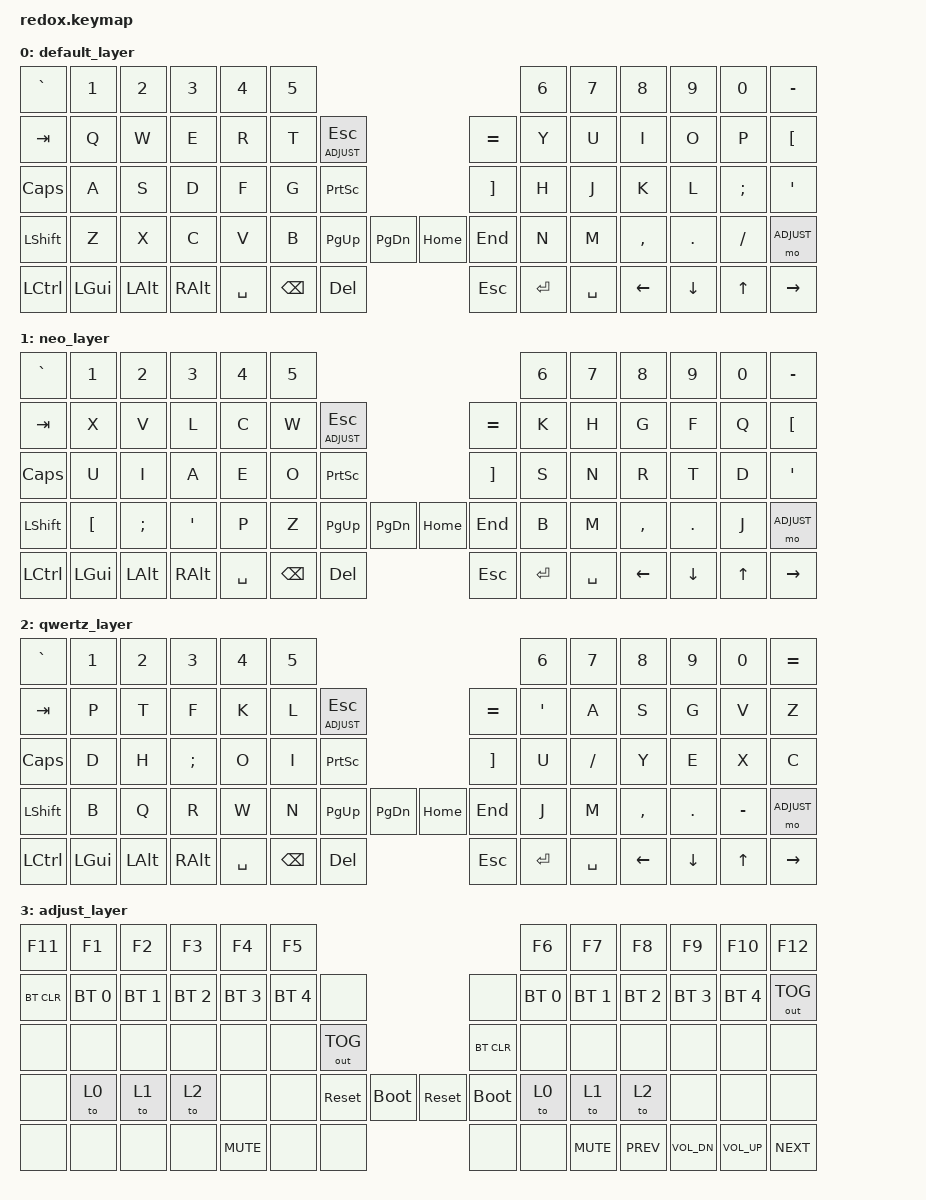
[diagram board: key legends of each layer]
/*
 * Copyright (c) 2021 The ZMK Contributors
 *
 * SPDX-License-Identifier: MIT
 */

#include <behaviors.dtsi>
#include <dt-bindings/zmk/keys.h>
#include <dt-bindings/zmk/bt.h>
#include <dt-bindings/zmk/ext_power.h>
#include <dt-bindings/zmk/outputs.h>

#define ADJUST 3

/ {
    keymap {
        compatible =  "zmk,keymap" ;

// keymap profile 0: os:neo2 actual:neo2
// -------------------------------------------------------------------------------------------------------------------------------------
// | GRAVE |  1  |  2  |   3   |  4  |  5  |                        ---                |  6    |  7    |  8    |  9   | 0  |     -     |
// | TAB   |  Q  |  W  |   E   |  R  |  T  | ESC/ADJUST |           ---        | EQUAL |  Y    |  U    |  I    |  O   | P  |     [     |
// | CAPS  |  A  |  S  |   D   |  F  |  G  | PSCRN      |           ---        |  ]    |  H    |  J    |  K    |  L   | ;  |     '     |
// | SHIFT |  Z  |  X  |   C   |  V  |  B  | PG_UP      | PG_DOWN | --- | HOME | END   |  N    |  M    |  ,    |  .   | /  |   ADJUST  |
// | CRTL  | GUI | ALT | RALT  |    SPACE  | BKSP       | DEL     | --- | ESC  | RET   |     SPACE     | LEFT  | DOWN | UP |   RIGHT   |
// -------------------------------------------------------------------------------------------------------------------------------------
        default_layer {
            bindings = <
   &kp GRAVE &kp N1   &kp N2   &kp N3 &kp N4   &kp N5                                        &kp N6    &kp N7 &kp N8    &kp N9   &kp N0   &kp MINUS
   &kp TAB   &kp Q    &kp W    &kp E  &kp R    &kp T  &lt ADJUST ESC               &kp EQUAL &kp Y     &kp U  &kp I     &kp O    &kp P    &kp LBKT
   &kp CLCK  &kp A    &kp S    &kp D  &kp F    &kp G  &kp PSCRN                    &kp RBKT  &kp H     &kp J  &kp K     &kp L    &kp SEMI &kp SQT
   &kp LSHFT &kp Z    &kp X    &kp C  &kp V    &kp B  &kp PG_UP &kp PG_DN &kp HOME &kp END   &kp N     &kp M  &kp COMMA &kp DOT  &kp FSLH &mo ADJUST
   &kp LCTRL &kp LGUI &kp LALT &kp RALT   &kp SPACE   &kp BSPC  &kp DEL   &kp ESC  &kp RET         &kp SPACE  &kp LEFT  &kp DOWN &kp UP   &kp RIGHT
            >;
        };

// keymap profile 1: os:qwertz, actual:neo2
// -------------------------------------------------------------------------------------------------------------------------------------
// | GRAVE |  1  |  2  |   3   |  4  |  5  |                        ---                |  6    |  7    |  8    |  9   | 0  |     -     |
// | TAB   |  X  |  V  |   L   |  C  |  W  | ESC/ADJUST |           ---        | EQUAL |  K    |  H    |  G    |  F   | Q  |     [     |
// | CAPS  |  U  |  I  |   A   |  E  |  O  | PSCRN      |           ---        |  ]    |  S    |  N    |  R    |  T   | D  |     '     |
// | SHIFT |  [  |  ;  |   '   |  P  |  Z  | PG_UP      | PG_DOWN | --- | HOME | END   |  B    |  M    |  ,    |  .   | J  |   ADJUST  |
// | CRTL  | GUI | ALT | RALT  |    SPACE  | BKSP       | DEL     | --- | ESC  | RET   |     SPACE     | LEFT  | DOWN | UP |   RIGHT   |
// -------------------------------------------------------------------------------------------------------------------------------------
        neo_layer {
            bindings = <
   &kp GRAVE &kp N1   &kp N2   &kp N3   &kp N4   &kp N5                                        &kp N6    &kp N7 &kp N8    &kp N9   &kp N0   &kp MINUS
   &kp TAB   &kp X    &kp V    &kp L    &kp C    &kp W  &lt ADJUST ESC               &kp EQUAL &kp K     &kp H  &kp G     &kp F    &kp Q    &kp LBKT
   &kp CLCK  &kp U    &kp I    &kp A    &kp E    &kp O  &kp PSCRN                    &kp RBKT  &kp S     &kp N  &kp R     &kp T    &kp D    &kp SQT
   &kp LSHFT &kp LBKT &kp SEMI &kp SQT  &kp P    &kp Z  &kp PG_UP &kp PG_DN &kp HOME &kp END   &kp B     &kp M  &kp COMMA &kp DOT  &kp J    &mo ADJUST
   &kp LCTRL &kp LGUI &kp LALT &kp RALT     &kp SPACE   &kp BSPC  &kp DEL   &kp ESC  &kp RET         &kp SPACE  &kp LEFT  &kp DOWN &kp UP   &kp RIGHT
            >;
        };

// keymap profile 2: os:neo2, actual:qwertz
// -------------------------------------------------------------------------------------------------------------------------------------
// | GRAVE |  1  |  2  |   3   |  4  |  5  |                        ---                |  6    |  7    |  8    |  9   | 0  |     =     |
// | TAB   |  P  |  T  |   F   |  K  |  L  | ESC/ADJUST |           ---        | EQUAL |  '    |  A    |  S    |  G   | V  |     Z     |
// | CAPS  |  D  |  H  |   ;   |  O  |  I  | PSCRN      |           ---        |  ]    |  U    |  /    |  Y    |  E   | X  |     C     |
// | SHIFT |  B  |  Q  |   R   |  W  |  N  | PG_UP      | PG_DOWN | --- | HOME | END   |  J    |  M    |  ,    |  .   | -  |   ADJUST  |
// | CRTL  | GUI | ALT | RALT  |    SPACE  | BKSP       | DEL     | --- | ESC  | RET   |     SPACE     | LEFT  | DOWN | UP |   RIGHT   |
// -------------------------------------------------------------------------------------------------------------------------------------
        qwertz_layer {
            bindings = <
   &kp GRAVE &kp N1   &kp N2   &kp N3   &kp N4   &kp N5                                        &kp N6    &kp N7   &kp N8    &kp N9   &kp N0    &kp EQUAL
   &kp TAB   &kp P    &kp T    &kp F    &kp K    &kp L  &lt ADJUST ESC               &kp EQUAL &kp SQT   &kp A    &kp S     &kp G    &kp V     &kp Z
   &kp CLCK  &kp D    &kp H    &kp SEMI &kp O    &kp I  &kp PSCRN                    &kp RBKT  &kp U     &kp FSLH &kp Y     &kp E    &kp X     &kp C
   &kp LSHFT &kp B    &kp Q    &kp R    &kp W    &kp N  &kp PG_UP &kp PG_DN &kp HOME &kp END   &kp J     &kp M    &kp COMMA &kp DOT  &kp MINUS &mo ADJUST
   &kp LCTRL &kp LGUI &kp LALT &kp RALT     &kp SPACE   &kp BSPC  &kp DEL   &kp ESC  &kp RET         &kp SPACE    &kp LEFT  &kp DOWN &kp UP    &kp RIGHT
            >;
        };

// adjust layer, activated during press of ADJUST (or hold of ESC):
// numerical keys refer to F1-12,
// space,arrows: volume/media control
// both halves:
//   - first row alphas: select bluetooth profiles 0-4, usb/bl output toggle
//   - last row alphas: select keymap profiles 0-2
// special use cases:
//   - pgup/pos1: reset board
//   - pgdn/end: enter bootloader
//   - TAB/]: clear current bluetooth profile
// ----------------------------------------------------------------------------------------------------------------------------------------------------
// |   F11  |  F1   |    F2    |    F3     |  F4  |  F5  |                        ---                  | F6  | F7  |  F8  |  F9  | F10 |    F12     |
// | BT_CLR |  BT0  |    BT1   |    BT2    |  BT3 |  BT4 |    F11     |           ---         |  F12   | BT0 | BT1 |  BT2 |  BT3 | BT4 | OUTPUT TGL |
// |        |       |          |           |      |      | OUTPUT TGL |           ---         | BT_CLR |     |     |      |      |     |            |
// |        |  L0   |    L1    |    L2     |      |      | RESET      | BOOTL   | --- | RESET | BOOTL  |  L0 |  L1 |  L2  |      |     |            |
// |        |       |          |           |    MUTE     |            |         | --- |       |        |   MUTE    | PREV | VDN  | VUP |   NEXT     |
// ----------------------------------------------------------------------------------------------------------------------------------------------------
        adjust_layer {
            bindings = <
   &kp F11     &kp F1        &kp F2       &kp F3       &kp F4        &kp F5                                                              &kp F6          &kp F7       &kp F8       &kp F9       &kp F10       &kp F12
   &bt BT_CLR  &bt BT_SEL 0  &bt BT_SEL 1 &bt BT_SEL 2 &bt BT_SEL 3  &bt BT_SEL 4  &none                                     &none       &bt BT_SEL 0    &bt BT_SEL 1 &bt BT_SEL 2 &bt BT_SEL 3 &bt BT_SEL 4  &out OUT_TOG
   &none       &none         &none        &none        &none         &none         &out OUT_TOG                              &bt BT_CLR  &none           &none        &none        &none        &none         &none
   &none       &to 0         &to 1        &to 2        &none         &none         &sys_reset   &bootloader       &sys_reset &bootloader &to 0           &to 1        &to 2        &none        &none         &none
   &none       &none         &none        &none           &kp K_MUTE               &none        &none             &none      &none             &kp K_MUTE             &kp K_PREV   &kp K_VOL_DN &kp K_VOL_UP  &kp K_NEXT
            >;
        };
    };
};
